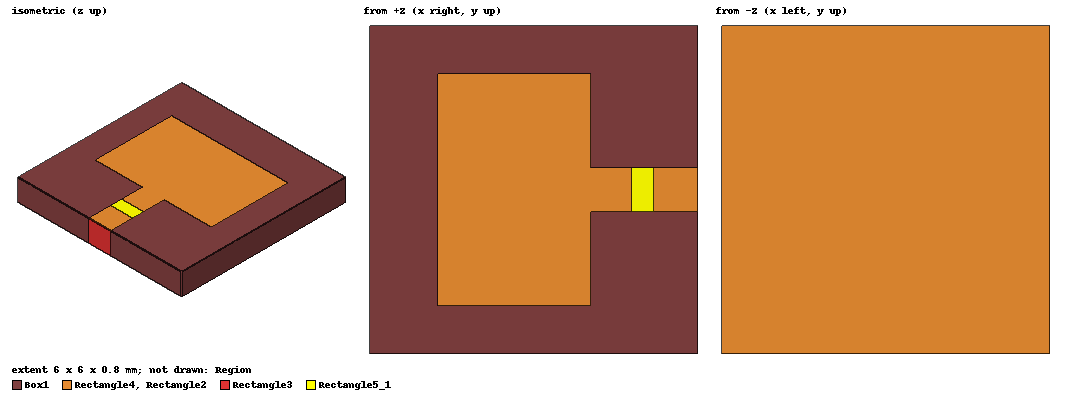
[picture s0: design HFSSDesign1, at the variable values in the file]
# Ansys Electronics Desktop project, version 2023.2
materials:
  vacuum: permittivity=1
  FR4_epoxy: permittivity=4.4 dielectric_loss_tangent=0.02

design HFSSDesign1 (HFSS, HFSS Terminal Network, model units mm)
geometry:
  Box1 [FR4_epoxy] = box(corner=(-3mm, -3mm, 0mm), size=(6mm, 6mm, 0.8mm))
  Rectangle1 = rectangle(corner=(2.5mm, -0.4mm, 0.8mm), x_size=-1.957069mm, y_size=0.8mm)
  Rectangle2 = rectangle(corner=(0.542931mm, (-4.25/2) mm, 0.8mm), x_size=-2.8mm, y_size=4.25mm)
  Rectangle2.unite(Rectangle1)
  Rectangle2.move(0.5mm, 0mm, 0mm)
  Rectangle3 = rectangle(corner=(3mm, -0.4mm, 0.8mm), y_size=0.8mm, z_size=-0.8mm)
  Rectangle4 = rectangle(corner=(-3mm, -3mm, 0mm), x_size=6mm, y_size=6mm)
  Region [vacuum] = region(absolute_offset=2mm on all sides)
  Rectangle5 = rectangle(corner=(2.2mm, -0.4mm, 0.8mm), x_size=-0.4mm, y_size=0.8mm)
  Rectangle5_1 = Rectangle5.duplicate_along_line(step=(1mm, 0mm, 0mm), total=2)
  Rectangle2.subtract(Rectangle5)
  Rectangle5_1.move(-1mm, 0mm, 0mm)
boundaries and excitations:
  PerfE1: Perfect E Objects=[Rectangle2, Rectangle4]
  Rad1: Radiation Objects=Region
  LumpRLC1: Lumped RLC Objects=Rectangle5_1 CurrentLine{(2.2, 0, 0.8) -> (1.8, 0, 0.8)} RLC_Type=Serial Resistance=3000ohm Capacitance=0.45nF
  1: Lumped Port Objects=Rectangle3 LumpedPortType=Modal Modes{Mode1{IntLine{(3, 0, 0) -> (3, 0, 0.8)} CharImp=Zpi}} Impedance=50ohm
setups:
  Setup1: HfssDriven Frequency=21GHz MaxDeltaS=0.02 MaximumPasses=6 MinimumPasses=1 MinimumConvergedPasses=1 PercentRefinement=30 BasisOrder=1 PortAccuracy=2 DrivenSolverType="Direct Solver"
    sweep Sweep: 10.5GHz to 31.5GHz, 401 points; Type=Interpolating InterpTolerance=0.5 InterpMaxSolns=250 PassivityErrorTolerance=0.0001
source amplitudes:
  1:1: 1V 0deg
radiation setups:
  Infinite Sphere1: Infinite Sphere Theta=0deg..360deg step 2deg Phi=0deg..180deg step 2deg
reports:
  Terminal S Parameter Plot 1: dB(St(1,1)) vs Freq on Setup1 : Sweep; dB(St(1,1)) vs Freq; markers MX1 at x=2.1003086e+10
  Terminal VSWR Plot 1: VSWRt(1) vs Freq on Setup1 : Sweep
  Gain Plot 1: dB(GainTotal) vs Phi, Theta on Setup1 : LastAdaptive, Infinite Sphere1 [Freq=21GHz]
  Gain Plot 2: dB(GainTotal) vs Theta on Setup1 : LastAdaptive, Infinite Sphere1 [Phi=0deg,90deg Freq=21GHz]
  Terminal S Parameter Plot 2: dB(St(1,1)) vs Freq on Setup1 : Sweep; dB(St(1,1)) vs Freq; markers MX1 at x=2.1024982e+10
